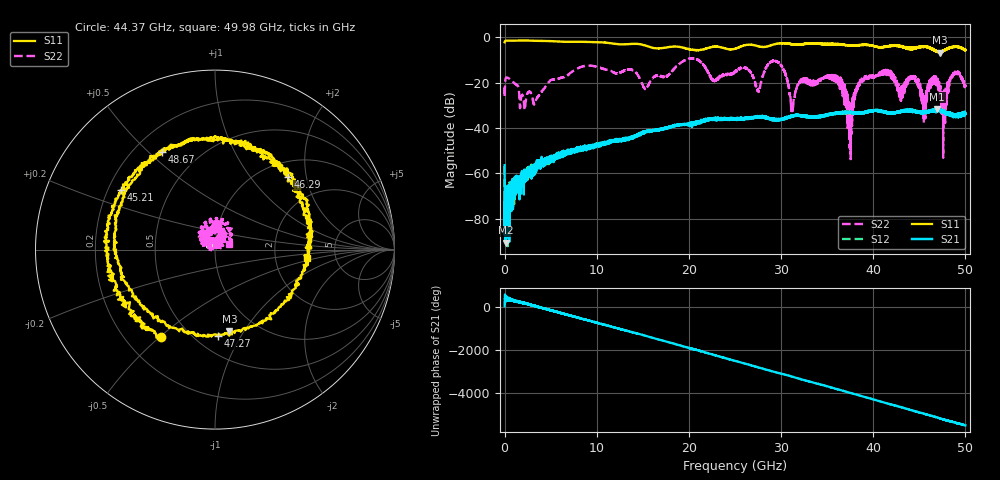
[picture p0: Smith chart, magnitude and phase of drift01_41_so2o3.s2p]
!Created with skrf (http://scikit-rf.org).
# Hz S RI R 50.0
!freq ReS11 ImS11 ReS21 ImS21 ReS12 ImS12 ReS22 ImS22
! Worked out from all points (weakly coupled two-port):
!   10001 points, 300 kHz to 50 GHz, reference 50 ohm
!   highest |S21| = -31.56 dB at 46.92 GHz (marker M1); lowest = -90.6 dB at 150.3 MHz (marker M2)
!   lowest |S11| = -6.7 dB at 47.21 GHz (marker M3), VSWR 2.72, Z = 37.3 - j43.2 ohm
!   |S11| at or under -10 dB: nowhere
!   |S22| runs from -53.7 to -9.2 dB; largest |S21 - S12| = 0.0045
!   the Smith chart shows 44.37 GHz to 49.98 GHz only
!   S11 on the Smith chart (normalised r, x): 44.37 GHz: 0.35, -0.50; 45.21 GHz: 0.25, +0.27; 46.29 GHz: 1.30, +1.56; 47.27 GHz: 0.64, -0.81; 48.67 GHz: 0.31, +0.55; 49.98 GHz: 3.07, -0.40
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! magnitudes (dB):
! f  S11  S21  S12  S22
! 300 kHz  -2.1  -56.4  -56.8  -22.0
! 150.3 MHz  -1.5  -90.6  -77.6  -17.8
! 3.29 GHz  -1.5  -56.7  -56.9  -28.9
! 8.335 GHz  -1.9  -49.1  -49.2  -12.9
! 16.67 GHz  -4.8  -40.9  -40.7  -16.7
! 25 GHz  -5.0  -35.7  -35.8  -15.4
! 29.58 GHz  -2.8  -36.4  -36.2  -10.6
! 31.24 GHz  -3.1  -34.7  -34.8  -31.5
! 33.34 GHz  -2.6  -35.3  -35.1  -20.0
! 36.08 GHz  -2.9  -33.6  -33.6  -18.4
! 37.47 GHz  -3.6  -33.1  -33.1  -34.8
! 38.65 GHz  -3.4  -33.2  -33.4  -20.3
! 41.67 GHz  -3.9  -33.2  -33.2  -15.5
! 44.37 GHz  -4.9  -32.2  -32.5  -17.1
! 45.21 GHz  -4.1  -32.9  -33.2  -23.5
! 46.29 GHz  -4.8  -32.3  -32.2  -18.9
! 46.92 GHz  -6.2  -31.6  -32.0  -20.1
! 47.21 GHz  -6.7  -32.2  -32.1  -25.0
! 47.27 GHz  -6.3  -32.5  -32.3  -23.8
! 48.67 GHz  -4.2  -34.1  -34.0  -16.9
! 49.98 GHz  -5.7  -34.0  -33.4  -21.4
! 50 GHz  -5.5  -33.8  -33.3  -21.5
